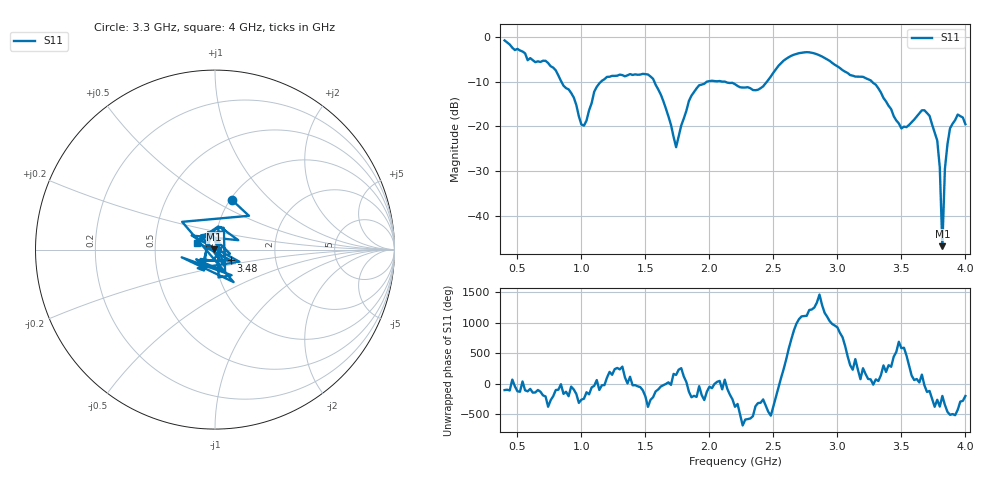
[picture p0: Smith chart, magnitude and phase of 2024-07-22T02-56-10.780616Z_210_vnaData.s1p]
!Created with skrf (http://scikit-rf.org).
# Hz S RI R 50.0
!freq ReS11 ImS11
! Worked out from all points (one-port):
!   181 points, 400 MHz to 4 GHz, reference 50 ohm
!   lowest |S11| = -46.8 dB at 3.82 GHz (marker M1), VSWR 1.01, Z = 49.6 + j0.146 ohm
!   |S11| at or under -10 dB: 1.57 GHz to 1.978 GHz (408.6 MHz wide, 23 % of centre); 2.123 GHz to 2.449 GHz (325.1 MHz wide, 14.2 % of centre); 3.271 GHz to end of sweep (the widest 3 of 4)
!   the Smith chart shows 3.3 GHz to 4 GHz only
!   S11 on the Smith chart (normalised r, x): 3.3 GHz: 1.01, +0.62; 3.48 GHz: 1.19, -0.15; 4 GHz: 0.82, +0.06
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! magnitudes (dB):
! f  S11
! 400 MHz  -0.8
! 580 MHz  -5.2
! 720 MHz  -5.3
! 860 MHz  -10.9
! 1.02 GHz  -19.8
! 1.12 GHz  -11.1
! 1.3 GHz  -8.4
! 1.56 GHz  -9.3
! 1.74 GHz  -24.6
! 1.76 GHz  -22.2
! 1.84 GHz  -14.3
! 1.92 GHz  -10.8
! 2.2 GHz  -10.5
! 2.38 GHz  -11.8
! 2.66 GHz  -4.0
! 2.84 GHz  -3.9
! 3.1 GHz  -8.5
! 3.3 GHz  -10.7
! 3.48 GHz  -19.3
! 3.56 GHz  -19.7
! 3.68 GHz  -16.4
! 3.78 GHz  -23.1
! 3.8 GHz  -29.2
! 3.82 GHz  -46.8
! 3.84 GHz  -29.5
! 3.88 GHz  -20.4
! 3.94 GHz  -17.3
! 4 GHz  -19.5
